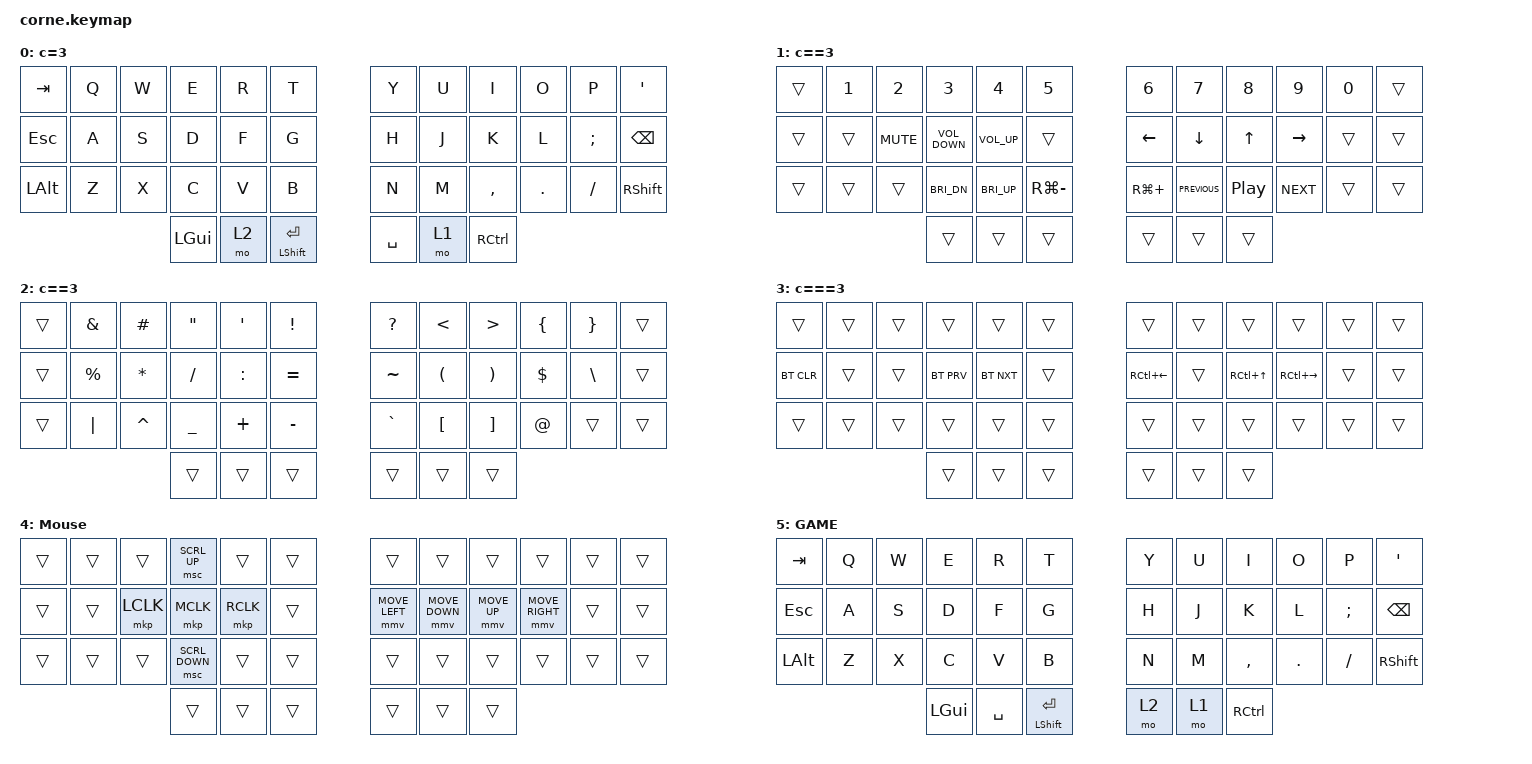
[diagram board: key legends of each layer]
/*
 * Copyright (c) 2020 The ZMK Contributors
 *
 * SPDX-License-Identifier: MIT
 */
// Mouse values

#define ZMK_POINTING_DEFAULT_MOVE_VAL 1200
#define ZMK_POINTING_DEFAULT_SCRL_VAL 25

#include <behaviors.dtsi>
#include <dt-bindings/zmk/bt.h>
#include <dt-bindings/zmk/keys.h>
#include <dt-bindings/zmk/pointing.h>

/ {
    combos {
        compatible = "zmk,combos";

        mouse {
            bindings = <&to 4>;
            key-positions = <0 11>;
            layers = <0>;
        };

        normal {
            bindings = <&to 0>;
            key-positions = <0 11>;
            layers = <4 5>;
        };

        game {
            bindings = <&to 5>;
            key-positions = <12 23>;
            layers = <0>;
        };
    };

    keymap {
        compatible = "zmk,keymap";

        default_layer {
            // -----------------------------------------------------------------------------------------
            // |  TAB |  Q  |  W  |  E  |  R  |  T  |   |  Y  |  U   |  I  |  O  |  P  | BSPC |
            // | CTRL |  A  |  S  |  D  |  F  |  G  |   |  H  |  J   |  K  |  L  |  ;  |  '   |
            // | SHFT |  Z  |  X  |  C  |  V  |  B  |   |  N  |  M   |  ,  |  .  |  /  | ESC  |
            //                    | GUI | LWR | SPC |   | ENT | RSE  | ALT |

            bindings = <
&kp TAB       &kp Q  &kp W  &kp E     &kp R  &kp T                   &kp Y      &kp U  &kp I              &kp O    &kp P          &kp SQT
&kp ESCAPE    &kp A  &kp S  &kp D     &kp F  &kp G                   &kp H      &kp J  &kp K              &kp L    &kp SEMICOLON  &kp BACKSPACE
&kp LEFT_ALT  &kp Z  &kp X  &kp C     &kp V  &kp B                   &kp N      &kp M  &kp COMMA          &kp DOT  &kp FSLH       &kp RIGHT_SHIFT
                            &kp LGUI  &mo 2  &mt LEFT_SHIFT ENTER    &kp SPACE  &mo 1  &kp RIGHT_CONTROL
            >;

            label = "c=3";
        };

        lower_layer {
            bindings = <
&trans  &kp N1  &kp N2      &kp N3             &kp N4           &kp N5           &kp NUMBER_6    &kp NUMBER_7    &kp NUMBER_8      &kp NUMBER_9  &kp NUMBER_0  &trans
&trans  &trans  &kp K_MUTE  &kp C_VOLUME_DOWN  &kp C_VOLUME_UP  &trans           &kp LEFT_ARROW  &kp DOWN_ARROW  &kp UP_ARROW      &kp RIGHT     &trans        &trans
&trans  &trans  &trans      &kp C_BRI_DN       &kp C_BRI_UP     &kp RG(MINUS)    &kp RG(PLUS)    &kp C_PREVIOUS  &kp C_PLAY_PAUSE  &kp C_NEXT    &trans        &trans
                            &trans             &trans           &trans           &trans          &trans          &trans
            >;

            label = "c==3";
        };

        raise_layer {
            bindings = <
&trans  &kp AMPERSAND  &kp HASH      &kp DOUBLE_QUOTES  &kp SQT    &kp EXCLAMATION    &kp QUESTION  &kp LESS_THAN         &kp GREATER_THAN       &kp LEFT_BRACE  &kp RIGHT_BRACE  &trans
&trans  &kp PERCENT    &kp ASTERISK  &kp SLASH          &kp COLON  &kp EQUAL          &kp TILDE     &kp LEFT_PARENTHESIS  &kp RIGHT_PARENTHESIS  &kp DOLLAR      &kp BACKSLASH    &trans
&trans  &kp PIPE       &kp CARET     &kp UNDERSCORE     &kp PLUS   &kp MINUS          &kp GRAVE     &kp LEFT_BRACKET      &kp RIGHT_BRACKET      &kp AT_SIGN     &trans           &trans
                                     &trans             &trans     &trans             &trans        &trans                &trans
            >;

            label = "c==3";
        };

        layer_3 {
            bindings = <
&trans      &trans  &trans  &trans      &trans      &trans    &trans        &trans  &trans            &trans         &trans  &trans
&bt BT_CLR  &trans  &trans  &bt BT_PRV  &bt BT_NXT  &trans    &kp RC(LEFT)  &trans  &kp RC(UP_ARROW)  &kp RC(RIGHT)  &trans  &trans
&trans      &trans  &trans  &trans      &trans      &trans    &trans        &trans  &trans            &trans         &trans  &trans
                            &trans      &trans      &trans    &trans        &trans  &trans
            >;

            label = "c===3";
        };

        Mouse {
            bindings = <
&trans  &trans  &trans     &msc SCRL_UP    &trans     &trans    &trans          &trans          &trans        &trans           &trans  &trans
&trans  &trans  &mkp LCLK  &mkp MCLK       &mkp RCLK  &trans    &mmv MOVE_LEFT  &mmv MOVE_DOWN  &mmv MOVE_UP  &mmv MOVE_RIGHT  &trans  &trans
&trans  &trans  &trans     &msc SCRL_DOWN  &trans     &trans    &trans          &trans          &trans        &trans           &trans  &trans
                           &trans          &trans     &trans    &trans          &trans          &trans
            >;

            label = "Mouse";
        };

        layer_5 {
            label = "GAME";
            bindings = <
&kp TAB       &kp Q  &kp W  &kp E     &kp R      &kp T                   &kp Y  &kp U  &kp I              &kp O    &kp P          &kp SQT
&kp ESCAPE    &kp A  &kp S  &kp D     &kp F      &kp G                   &kp H  &kp J  &kp K              &kp L    &kp SEMICOLON  &kp BACKSPACE
&kp LEFT_ALT  &kp Z  &kp X  &kp C     &kp V      &kp B                   &kp N  &kp M  &kp COMMA          &kp DOT  &kp FSLH       &kp RIGHT_SHIFT
                            &kp LGUI  &kp SPACE  &mt LEFT_SHIFT ENTER    &mo 2  &mo 1  &kp RIGHT_CONTROL
            >;
        };
    };

    conditional_layers {
        compatible = "zmk,conditional-layers";

        both {
            if-layers = <1 2>;
            then-layer = <3>;
        };
    };
};
